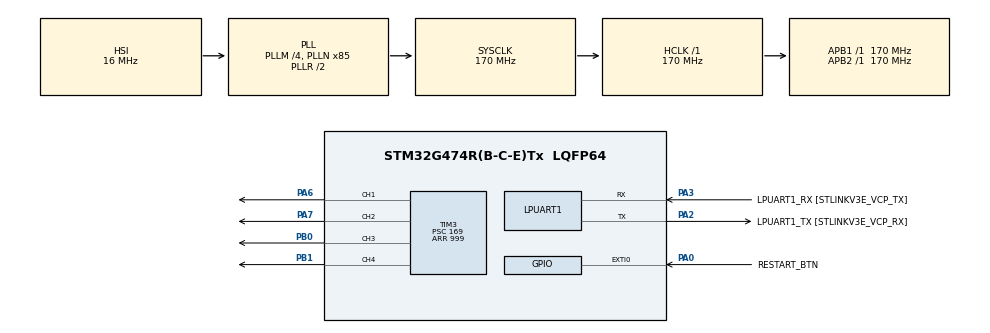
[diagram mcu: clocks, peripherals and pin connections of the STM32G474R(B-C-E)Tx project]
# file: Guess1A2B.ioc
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Mcu.Family=STM32G4
Mcu.Name=STM32G474R(B-C-E)Tx
Mcu.Package=LQFP64
NVIC.EXTI0_IRQn=true\:0\:0\:false\:false\:true\:true\:true\:true
NVIC.LPUART1_IRQn=true\:0\:0\:false\:false\:true\:true\:true\:true
NVIC.PriorityGroup=NVIC_PRIORITYGROUP_4
PA0.GPIO_Label=RESTART_BTN
PA0.GPIO_ModeDefaultEXTI=GPIO_MODE_IT_FALLING
PA0.GPIO_PuPd=GPIO_PULLUP
PA0.Signal=GPXTI0
PA13.GPIO_Label=T_SWDIO
PA13.Mode=Serial_Wire
PA13.Signal=SYS_JTMS-SWDIO
PA14.GPIO_Label=T_SWCLK
PA14.Mode=Serial_Wire
PA14.Signal=SYS_JTCK-SWCLK
PA2.GPIO_Label=LPUART1_TX [STLINKV3E_VCP_RX]
PA2.Mode=Asynchronous
PA2.Signal=LPUART1_TX
PA3.GPIO_Label=LPUART1_RX [STLINKV3E_VCP_TX]
PA3.Mode=Asynchronous
PA3.Signal=LPUART1_RX
PA6.Signal=S_TIM3_CH1
PA7.Signal=S_TIM3_CH2
PB0.Signal=S_TIM3_CH3
PB1.Signal=S_TIM3_CH4
PB3.GPIO_Label=T_SWO
PB3.Signal=SYS_JTDO-SWO
PC14-OSC32_IN.GPIO_Label=RCC_OSC32_IN
PC14-OSC32_IN.Signal=RCC_OSC32_IN
PC15-OSC32_OUT.GPIO_Label=RCC_OSC32_OUT
PC15-OSC32_OUT.Signal=RCC_OSC32_OUT
PF0-OSC_IN.GPIO_Label=RCC_OSC_IN
PF0-OSC_IN.Signal=RCC_OSC_IN
PF1-OSC_OUT.GPIO_Label=RCC_OSC_OUT
PF1-OSC_OUT.Signal=RCC_OSC_OUT
ProjectManager.HeapSize=0x200
ProjectManager.StackSize=0x400
ProjectManager.TargetToolchain=STM32CubeIDE
RCC.ADC12Freq_Value=170000000
RCC.ADC345Freq_Value=170000000
RCC.AHBFreq_Value=170000000
RCC.APB1Freq_Value=170000000
RCC.APB1TimFreq_Value=170000000
RCC.APB2Freq_Value=170000000
RCC.APB2TimFreq_Value=170000000
RCC.CortexFreq_Value=170000000
RCC.EXTERNAL_CLOCK_VALUE=12288000
RCC.HCLKFreq_Value=170000000
RCC.HSE_VALUE=24000000
RCC.HSI48_VALUE=48000000
RCC.HSI_VALUE=16000000
RCC.LSE_VALUE=32768
RCC.PLLM=RCC_PLLM_DIV4
RCC.PLLN=85
RCC.RTCClockSelection=RCC_RTCCLKSOURCE_LSE
RCC.SYSCLKFreq_VALUE=170000000
RCC.SYSCLKSource=RCC_SYSCLKSOURCE_PLLCLK
RCC.USBFreq_Value=170000000
RCC.VCOOutputFreq_Value=340000000
SH.S_TIM3_CH1.0=TIM3_CH1,PWM Generation1 CH1
SH.S_TIM3_CH2.0=TIM3_CH2,PWM Generation2 CH2
SH.S_TIM3_CH3.0=TIM3_CH3,PWM Generation3 CH3
SH.S_TIM3_CH4.0=TIM3_CH4,PWM Generation4 CH4
TIM3.Channel-PWM\ Generation1\ CH1=TIM_CHANNEL_1
TIM3.Channel-PWM\ Generation2\ CH2=TIM_CHANNEL_2
TIM3.Channel-PWM\ Generation3\ CH3=TIM_CHANNEL_3
TIM3.Channel-PWM\ Generation4\ CH4=TIM_CHANNEL_4
TIM3.PeriodNoDither=999
TIM3.Prescaler=169
VP_SYS_VS_DBSignals.Mode=DisableDeadBatterySignals
VP_TIM3_VS_ClockSourceINT.Mode=Internal
board=NUCLEO-G474RE

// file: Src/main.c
/* USER CODE BEGIN Header */
/**
  ******************************************************************************
  * @file           : main.c
  * @brief          : Main program body
  ******************************************************************************
  * @attention
  *
  * Copyright (c) 2026 STMicroelectronics.
  * All rights reserved.
  *
  * This software is licensed under terms that can be found in the LICENSE file
  * in the root directory of this software component.
  * If no LICENSE file comes with this software, it is provided AS-IS.
  *
  ******************************************************************************
  */
/* USER CODE END Header */
#include "main.h"

/* USER CODE BEGIN Includes */
#include <stdio.h>
#include <stdlib.h>
#include <string.h>
/* USER CODE END Includes */

UART_HandleTypeDef hlpuart1;

TIM_HandleTypeDef htim3;

/* USER CODE BEGIN PV */
char answer[5] = {0};
uint8_t answer_ready = 0;
char guess[5];
uint8_t guess_len = 0;
uint8_t input_overflow = 0;
uint8_t game_rx;

/* 0: off, 1: A, 2: B */
uint8_t led_state[4] = {0, 0, 0, 0};

uint32_t round_number = 0;

const uint32_t led_channel[4] = {
    TIM_CHANNEL_1,
    TIM_CHANNEL_2,
    TIM_CHANNEL_3,
    TIM_CHANNEL_4
};
volatile uint8_t restart_requested = 0;
/* USER CODE END PV */

void SystemClock_Config(void);
static void MX_GPIO_Init(void);
static void MX_LPUART1_UART_Init(void);
static void MX_TIM3_Init(void);
/* USER CODE BEGIN PFP */
static void GenerateAnswer(void);

/* USER CODE END PFP */

/* USER CODE BEGIN 0 */

static void GenerateAnswer(void)
{
    static uint8_t seeded = 0;
    char next[5];

    if (!seeded)
    {
        /* Sample human input timing; TIM3 counts at 1 MHz. */
        uint32_t seed = HAL_GetTick() * 1000U
                      + __HAL_TIM_GET_COUNTER(&htim3);
        srand((unsigned int)seed);
        seeded = 1;
    }

    do
    {
        char digits[10] = "0123456789";
        for (uint8_t i = 0; i < 4; i++)
        {
            uint8_t j = i + (uint8_t)(rand() % (10 - i));
            char temp = digits[i];
            digits[i] = digits[j];
            digits[j] = temp;
            next[i] = digits[i];
        }
        next[4] = '\0';
    } while (answer_ready && memcmp(next, answer, 4) == 0);

    memcpy(answer, next, sizeof(answer));
    answer_ready = 1;
}

/* USER CODE END 0 */

int main(void)
{

  /* MCU Configuration--------------------------------------------------------*/

  /* Reset of all peripherals, Initializes the Flash interface and the Systick. */
  HAL_Init();

  /* Configure the system clock */
  SystemClock_Config();

  /* Initialize all configured peripherals */
  MX_GPIO_Init();
  MX_LPUART1_UART_Init();
  MX_TIM3_Init();
  /* USER CODE BEGIN 2 */
  uint8_t ready[] = "STM32 UART Ready. Enter 4 different digits.\r\n";
  HAL_UART_Transmit(&hlpuart1, ready, sizeof(ready) - 1, 100);

  HAL_TIM_PWM_Start(&htim3, TIM_CHANNEL_1);
  HAL_TIM_PWM_Start(&htim3, TIM_CHANNEL_2);
  HAL_TIM_PWM_Start(&htim3, TIM_CHANNEL_3);
  HAL_TIM_PWM_Start(&htim3, TIM_CHANNEL_4);
  /* USER CODE END 2 */

  /* Infinite loop */
  while (1)
  {

      /* USER CODE BEGIN 3 */
  if (restart_requested)
  {
      restart_requested = 0;

      char restart_msg[80];
      int n;
      if (answer_ready)
      {
          n = snprintf(restart_msg, sizeof(restart_msg),
                       "\r\nAnswer: %s\r\nNew game!\r\n", answer);
      }
      else
      {
          n = snprintf(restart_msg, sizeof(restart_msg),
                       "\r\nNew game!\r\n");
      }
      GenerateAnswer();

      guess_len = 0;
      input_overflow = 0;
      round_number = 0;

      for (uint8_t i = 0; i < 4; i++)
      {
          led_state[i] = 0;
          __HAL_TIM_SET_COMPARE(&htim3, led_channel[i], 0);
      }

      if (n > 0 && n < (int)sizeof(restart_msg))
      {
          HAL_UART_Transmit(
              &hlpuart1,
              (uint8_t *)restart_msg,
              (uint16_t)n,
              100
          );
      }
  }

      /* Receive one character */
      if (HAL_UART_Receive(&hlpuart1, &game_rx, 1, 1) == HAL_OK)
      {
          /* First user input supplies timing for the initial seed. */
          if (!answer_ready && game_rx != '\r' && game_rx != '\n')
          {
              GenerateAnswer();
          }

          if (game_rx == '\r' || game_rx == '\n')
          {
              /* Ignore empty lines, including the LF after CR */
              if (guess_len > 0 || input_overflow)
              {
                  uint8_t valid =
                      (guess_len == 4 && !input_overflow);

                  /* Check digits and reject repeated digits */
                  for (uint8_t i = 0; i < guess_len; i++)
                  {
                      if (guess[i] < '0' || guess[i] > '9')
                      {
                          valid = 0;
                      }

                      for (uint8_t j = 0; j < i; j++)
                      {
                          if (guess[i] == guess[j])
                          {
                              valid = 0;
                          }
                      }
                  }

                  char reply[80];
                  int reply_len;

                  if (valid)
                  {
                      uint8_t count_a = 0;
                      uint8_t count_b = 0;

                      guess[4] = '\0';

                      for (uint8_t i = 0; i < 4; i++)
                      {
                          led_state[i] = 0;

                          if (guess[i] == answer[i])
                          {
                              led_state[i] = 1;
                              count_a++;
                          }
                          else
                          {
                              for (uint8_t j = 0; j < 4; j++)
                              {
                                  if (guess[i] == answer[j])
                                  {
                                      led_state[i] = 2;
                                      count_b++;
                                      break;
                                  }
                              }
                          }
                      }

                      round_number++;

                      reply_len = snprintf(
                          reply, sizeof(reply),
                          "Round %lu: %s -> %uA%uB\r\n",
                          (unsigned long)round_number,
                          guess,
                          (unsigned int)count_a,
                          (unsigned int)count_b
                      );
                  }
                  else
                  {
                      reply_len = snprintf(
                          reply, sizeof(reply),
                          "Enter 4 different digits, then Enter.\r\n"
                      );
                  }

                  if (reply_len > 0 &&
                      reply_len < (int)sizeof(reply))
                  {
                      HAL_UART_Transmit(
                          &hlpuart1,
                          (uint8_t *)reply,
                          (uint16_t)reply_len,
                          100
                      );
                  }

                  guess_len = 0;
                  input_overflow = 0;
              }
          }
          else
          {
              if (guess_len < 4)
              {
                  guess[guess_len++] = (char)game_rx;
              }
              else
              {
                  input_overflow = 1;
              }
          }
      }

      /* Update the four LEDs */
      uint32_t phase = HAL_GetTick() % 2000U;
      uint32_t breathing =
          (phase <= 1000U) ? phase : (2000U - phase);

      for (uint8_t i = 0; i < 4; i++)
      {
          uint32_t brightness = 0;

          if (led_state[i] == 1)
          {
              brightness = 1000;
          }
          else if (led_state[i] == 2)
          {
              brightness = breathing;
          }

          __HAL_TIM_SET_COMPARE(
              &htim3, led_channel[i], brightness
          );
      }
  }
  /* USER CODE END 3 */
}

void SystemClock_Config(void)
{
  RCC_OscInitTypeDef RCC_OscInitStruct = {0};
  RCC_ClkInitTypeDef RCC_ClkInitStruct = {0};

  /** Configure the main internal regulator output voltage
  */
  HAL_PWREx_ControlVoltageScaling(PWR_REGULATOR_VOLTAGE_SCALE1_BOOST);

  /** Initializes the RCC Oscillators according to the specified parameters
  * in the RCC_OscInitTypeDef structure.
  */
  RCC_OscInitStruct.OscillatorType = RCC_OSCILLATORTYPE_HSI;
  RCC_OscInitStruct.HSIState = RCC_HSI_ON;
  RCC_OscInitStruct.HSICalibrationValue = RCC_HSICALIBRATION_DEFAULT;
  RCC_OscInitStruct.PLL.PLLState = RCC_PLL_ON;
  RCC_OscInitStruct.PLL.PLLSource = RCC_PLLSOURCE_HSI;
  RCC_OscInitStruct.PLL.PLLM = RCC_PLLM_DIV4;
  RCC_OscInitStruct.PLL.PLLN = 85;
  RCC_OscInitStruct.PLL.PLLP = RCC_PLLP_DIV2;
  RCC_OscInitStruct.PLL.PLLQ = RCC_PLLQ_DIV2;
  RCC_OscInitStruct.PLL.PLLR = RCC_PLLR_DIV2;
  if (HAL_RCC_OscConfig(&RCC_OscInitStruct) != HAL_OK)
  {
    Error_Handler();
  }

  /** Initializes the CPU, AHB and APB buses clocks
  */
  RCC_ClkInitStruct.ClockType = RCC_CLOCKTYPE_HCLK|RCC_CLOCKTYPE_SYSCLK
                              |RCC_CLOCKTYPE_PCLK1|RCC_CLOCKTYPE_PCLK2;
  RCC_ClkInitStruct.SYSCLKSource = RCC_SYSCLKSOURCE_PLLCLK;
  RCC_ClkInitStruct.AHBCLKDivider = RCC_SYSCLK_DIV1;
  RCC_ClkInitStruct.APB1CLKDivider = RCC_HCLK_DIV1;
  RCC_ClkInitStruct.APB2CLKDivider = RCC_HCLK_DIV1;

  if (HAL_RCC_ClockConfig(&RCC_ClkInitStruct, FLASH_LATENCY_4) != HAL_OK)
  {
    Error_Handler();
  }
}

static void MX_LPUART1_UART_Init(void)
{

  hlpuart1.Instance = LPUART1;
  hlpuart1.Init.BaudRate = 115200;
  hlpuart1.Init.WordLength = UART_WORDLENGTH_8B;
  hlpuart1.Init.StopBits = UART_STOPBITS_1;
  hlpuart1.Init.Parity = UART_PARITY_NONE;
  hlpuart1.Init.Mode = UART_MODE_TX_RX;
  hlpuart1.Init.HwFlowCtl = UART_HWCONTROL_NONE;
  hlpuart1.Init.OneBitSampling = UART_ONE_BIT_SAMPLE_DISABLE;
  hlpuart1.Init.ClockPrescaler = UART_PRESCALER_DIV1;
  hlpuart1.AdvancedInit.AdvFeatureInit = UART_ADVFEATURE_NO_INIT;
  if (HAL_UART_Init(&hlpuart1) != HAL_OK)
  {
    Error_Handler();
  }
  if (HAL_UARTEx_SetTxFifoThreshold(&hlpuart1, UART_TXFIFO_THRESHOLD_1_8) != HAL_OK)
  {
    Error_Handler();
  }
  if (HAL_UARTEx_SetRxFifoThreshold(&hlpuart1, UART_RXFIFO_THRESHOLD_1_8) != HAL_OK)
  {
    Error_Handler();
  }
  if (HAL_UARTEx_DisableFifoMode(&hlpuart1) != HAL_OK)
  {
    Error_Handler();
  }

}

static void MX_TIM3_Init(void)
{

  TIM_ClockConfigTypeDef sClockSourceConfig = {0};
  TIM_MasterConfigTypeDef sMasterConfig = {0};
  TIM_OC_InitTypeDef sConfigOC = {0};

  htim3.Instance = TIM3;
  htim3.Init.Prescaler = 169;
  htim3.Init.CounterMode = TIM_COUNTERMODE_UP;
  htim3.Init.Period = 999;
  htim3.Init.ClockDivision = TIM_CLOCKDIVISION_DIV1;
  htim3.Init.AutoReloadPreload = TIM_AUTORELOAD_PRELOAD_DISABLE;
  if (HAL_TIM_Base_Init(&htim3) != HAL_OK)
  {
    Error_Handler();
  }
  sClockSourceConfig.ClockSource = TIM_CLOCKSOURCE_INTERNAL;
  if (HAL_TIM_ConfigClockSource(&htim3, &sClockSourceConfig) != HAL_OK)
  {
    Error_Handler();
  }
  if (HAL_TIM_PWM_Init(&htim3) != HAL_OK)
  {
    Error_Handler();
  }
  sMasterConfig.MasterOutputTrigger = TIM_TRGO_RESET;
  sMasterConfig.MasterSlaveMode = TIM_MASTERSLAVEMODE_DISABLE;
  if (HAL_TIMEx_MasterConfigSynchronization(&htim3, &sMasterConfig) != HAL_OK)
  {
    Error_Handler();
  }
  sConfigOC.OCMode = TIM_OCMODE_PWM1;
  sConfigOC.Pulse = 0;
  sConfigOC.OCPolarity = TIM_OCPOLARITY_HIGH;
  sConfigOC.OCFastMode = TIM_OCFAST_DISABLE;
  if (HAL_TIM_PWM_ConfigChannel(&htim3, &sConfigOC, TIM_CHANNEL_1) != HAL_OK)
  {
    Error_Handler();
  }
  if (HAL_TIM_PWM_ConfigChannel(&htim3, &sConfigOC, TIM_CHANNEL_2) != HAL_OK)
  {
    Error_Handler();
  }
  if (HAL_TIM_PWM_ConfigChannel(&htim3, &sConfigOC, TIM_CHANNEL_3) != HAL_OK)
  {
    Error_Handler();
  }
  if (HAL_TIM_PWM_ConfigChannel(&htim3, &sConfigOC, TIM_CHANNEL_4) != HAL_OK)
  {
    Error_Handler();
  }
  HAL_TIM_MspPostInit(&htim3);

}

static void MX_GPIO_Init(void)
{

  /* GPIO Ports Clock Enable */
  __HAL_RCC_GPIOC_CLK_ENABLE();
  __HAL_RCC_GPIOF_CLK_ENABLE();
  __HAL_RCC_GPIOA_CLK_ENABLE();
  __HAL_RCC_GPIOB_CLK_ENABLE();

  /* USER CODE BEGIN MX_GPIO_Init_2 */

  GPIO_InitTypeDef button = {0};
  button.Pin = GPIO_PIN_0;
  button.Mode = GPIO_MODE_IT_FALLING;
  button.Pull = GPIO_PULLUP;
  HAL_GPIO_Init(GPIOA, &button);

  HAL_NVIC_SetPriority(EXTI0_IRQn, 2, 0);
  HAL_NVIC_EnableIRQ(EXTI0_IRQn);

  /* USER CODE END MX_GPIO_Init_2 */
}

/* USER CODE BEGIN 4 */
void HAL_GPIO_EXTI_Callback(uint16_t GPIO_Pin)
{
    static uint32_t last_press = 0;
    static uint8_t first_press = 1;

    if (GPIO_Pin == GPIO_PIN_0)
    {
        uint32_t now = HAL_GetTick();

        /* Ignore repeated triggers within 200 ms */
        if (first_press || (uint32_t)(now - last_press) >= 200U)
        {
            first_press = 0;
            last_press = now;
            restart_requested = 1;
        }
    }
}
/* USER CODE END 4 */

void Error_Handler(void)
{
  __disable_irq();
  while (1)
  {
  }
}
